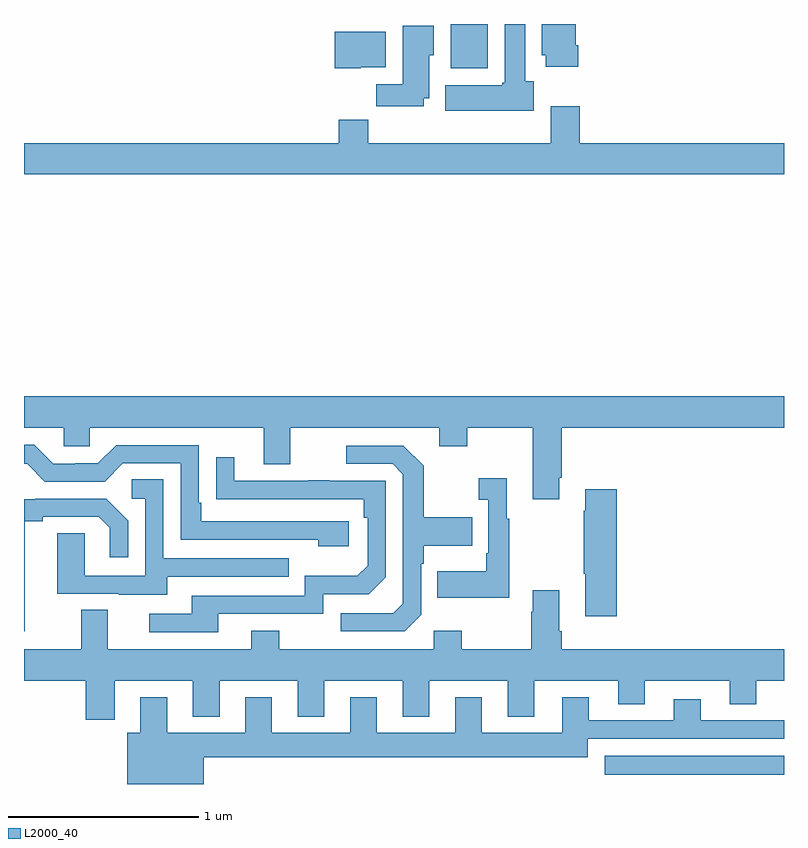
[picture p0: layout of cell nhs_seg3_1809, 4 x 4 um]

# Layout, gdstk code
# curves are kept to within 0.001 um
import gdstk
lib = gdstk.Library(unit=1e-6, precision=1e-09)
def R(c, l, rs):  # rectangles x0, y0, x1, y1
    for r in rs: c.add(gdstk.rectangle(r[:2], r[2:], *l))
def P(c, l, *ps):  # polygons
    for p in ps: c.add(gdstk.Polygon(p, *l))
L2000_40 = (2000, 40)

nhs_seg3_1809 = lib.new_cell('nhs_seg3_1809')
R(nhs_seg3_1809, L2000_40, [(208.056,672.449,209,672.55), (207.245,676.166,207.442,676.4)])
P(nhs_seg3_1809, L2000_40, [(207.917,676.288),(207.904,676.288),(207.904,676.4),(207.725,676.4),(207.725,676.236),(207.746,676.236),(207.746,676.176),(207.917,676.176)],
  [(207.682,676.098),(207.637,676.098),(207.637,676.4),(207.53,676.4),(207.53,676.092),(207.517,676.092),(207.517,676.078),(207.218,676.078),(207.218,675.944),(207.682,675.944)],
  [(207.103,676.01),(207.133,676.01),(207.133,676.236),(207.157,676.236),(207.157,676.39),(206.993,676.39),(206.993,676.084),(206.854,676.084),(206.854,675.966),(207.103,675.966)],
  [(206.772,676.172),(206.905,676.172),(206.905,676.36),(206.636,676.36),(206.636,676.166),(206.772,676.166)],
  [(209,675.772),(207.926,675.772),(207.926,675.967),(207.773,675.967),(207.773,675.772),(206.813,675.772),(206.813,675.896),(206.657,675.896),(206.657,675.772),(205,675.772),(205,675.608),(209,675.608)],
  [(207.817,674.011),(207.83,674.011),(207.83,674.276),(209,674.276),(209,674.44),(205,674.44),(205,674.276),(205.209,674.276),(205.209,674.178),(205.347,674.178),(205.347,674.276),(206.261,674.276),(206.261,674.082),(206.401,674.082),(206.401,674.276),(207.185,674.276),(207.185,674.177),(207.333,674.177),(207.333,674.276),(207.677,674.276),(207.677,673.899),(207.817,673.899)],
  [(206.71,673.782),(205.933,673.782),(205.933,673.879),(205.92,673.879),(205.92,674.184),(205.485,674.184),(205.389,674.088),(205.271,674.088),(205.271,674.085),(205.155,674.085),(205.055,674.185),(205,674.185),(205,674.085),(205.017,674.085),(205.11,673.992),(205.425,673.992),(205.521,674.088),(205.824,674.088),(205.824,673.686),(206.549,673.686),(206.549,673.652),(206.71,673.652)],
  [(207.09,673.29),(207.09,673.559),(207.103,673.559),(207.103,673.655),(207.359,673.655),(207.359,673.803),(207.103,673.803),(207.103,674.075),(206.997,674.181),(206.697,674.181),(206.697,674.085),(206.94,674.085),(206.994,674.031),(206.994,673.35),(206.943,673.299),(206.667,673.299),(206.667,673.203),(207.003,673.203)],
  [(206.023,673.296),(206.574,673.296),(206.574,673.398),(206.814,673.398),(206.904,673.488),(206.904,673.995),(206.609,673.995),(206.609,674),(206.497,674),(206.497,673.995),(206.107,673.995),(206.107,674.119),(206.011,674.119),(206.011,673.9),(206.788,673.899),(206.788,673.802),(206.808,673.802),(206.808,673.548),(206.755,673.495),(206.478,673.495),(206.478,673.392),(205.883,673.392),(205.883,673.296),(205.659,673.296),(205.659,673.2),(206.023,673.2)],
  [(207.553,673.795),(207.541,673.795),(207.541,674.008),(207.393,674.008),(207.393,673.895),(207.444,673.895),(207.444,673.615),(207.432,673.615),(207.432,673.519),(207.175,673.519),(207.175,673.379),(207.553,673.379)],
  [(205.753,673.491),(206.393,673.491),(206.393,673.587),(205.734,673.587),(205.734,674.003),(205.566,674.003),(205.566,673.902),(205.638,673.902),(205.638,673.497),(205.32,673.497),(205.32,673.721),(205.175,673.721),(205.175,673.401),(205.499,673.401),(205.499,673.397),(205.753,673.397)],
  [(208.121,673.951),(207.953,673.951),(207.953,673.838),(207.946,673.838),(207.946,673.507),(207.953,673.507),(207.953,673.284),(208.121,673.284)],
  [(205.003,673.784),(205.099,673.784),(205.099,673.806),(205.394,673.806),(205.451,673.749),(205.451,673.593),(205.548,673.593),(205.548,673.786),(205.432,673.902),(205.06,673.902),(205.06,673.899),(205,673.899),(205,673.203),(205.003,673.203)],
  [(207.817,673.204),(207.817,673.42),(207.677,673.42),(207.677,673.307),(207.67,673.307),(207.67,673.108),(207.303,673.108),(207.303,673.207),(207.156,673.207),(207.156,673.108),(206.343,673.108),(206.343,673.207),(206.195,673.207),(206.195,673.108),(205.441,673.108),(205.441,673.316),(205.301,673.316),(205.301,673.108),(205,673.108),(205,672.944),(205.325,672.944),(205.325,672.738),(205.477,672.738),(205.477,672.944),(205.889,672.944),(205.889,672.755),(206.029,672.755),(206.029,672.944),(206.441,672.944),(206.441,672.755),(206.581,672.755),(206.581,672.944),(206.993,672.944),(206.993,672.755),(207.133,672.755),(207.133,672.944),(207.545,672.944),(207.545,672.755),(207.685,672.755),(207.685,672.944),(208.127,672.944),(208.127,672.82),(208.267,672.82),(208.267,672.944),(208.715,672.944),(208.715,672.82),(208.855,672.82),(208.855,672.944),(209,672.944),(209,673.108),(207.83,673.108),(207.83,673.204)],
  [(205.945,672.542),(207.967,672.542),(207.967,672.639),(209,672.639),(209,672.735),(208.561,672.735),(208.561,672.847),(208.421,672.847),(208.421,672.735),(207.973,672.735),(207.973,672.856),(207.833,672.856),(207.833,672.67),(207.409,672.67),(207.409,672.856),(207.269,672.856),(207.269,672.67),(206.857,672.67),(206.857,672.856),(206.717,672.856),(206.717,672.67),(206.305,672.67),(206.305,672.856),(206.165,672.856),(206.165,672.67),(205.753,672.67),(205.753,672.856),(205.613,672.856),(205.613,672.67),(205.544,672.67),(205.544,672.4),(205.945,672.4)])

lib.write_gds('nhs_seg3_1809.gds')
